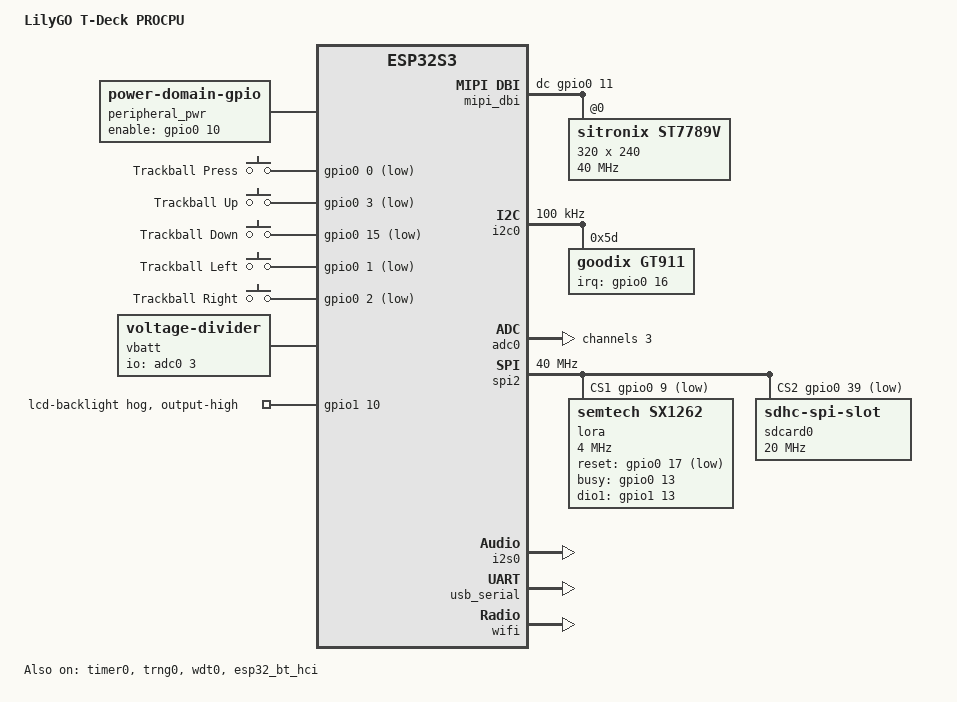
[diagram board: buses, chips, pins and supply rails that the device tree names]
/*
 * SPDX-FileCopyrightText: Copyright The Zephyr Project Contributors
 * SPDX-License-Identifier: Apache-2.0
 */

/dts-v1/;

#include <espressif/esp32s3/esp32s3_wroom_n16r8.dtsi>
#include "t_deck-pinctrl.dtsi"
#include <espressif/partitions_0x0_amp_16M.dtsi>
#include <zephyr/dt-bindings/adc/adc.h>
#include <zephyr/dt-bindings/display/panel.h>
#include <zephyr/dt-bindings/input/input-event-codes.h>
#include <zephyr/dt-bindings/input/keymap.h>
#include <zephyr/dt-bindings/lora/sx126x.h>
#include <zephyr/dt-bindings/lvgl/lvgl.h>
#include <zephyr/dt-bindings/mipi_dbi/mipi_dbi.h>

/ {
	model = "LilyGO T-Deck PROCPU";
	compatible = "espressif,esp32s3";

	aliases {
		i2c-0 = &i2c0;
		i2s-tx = &i2s0;
		lora0 = &lora;
		sdhc0 = &sdcard0;
		sw0 = &trackball_press;
		uart-0 = &uart0;
		watchdog0 = &wdt0;
	};

	chosen {
		zephyr,sram = &sram0;
		zephyr,console = &usb_serial;
		zephyr,shell-uart = &usb_serial;
		zephyr,flash = &flash0;
		zephyr,code-partition = &slot0_partition;
		zephyr,bt-hci = &esp32_bt_hci;
		zephyr,display = &st7789v;
		zephyr,touch = &gt911;
	};

	peripheral_pwr: peripheral_pwr {
		compatible = "power-domain-gpio";
		enable-gpios = <&gpio0 10 GPIO_ACTIVE_HIGH>;
		#power-domain-cells = <0>;
	};

	trackball: trackball {
		compatible = "gpio-keys";
		power-domains = <&peripheral_pwr>;
		status = "okay";

		trackball_press: trackball_press {
			gpios = <&gpio0 0 (GPIO_PULL_UP | GPIO_ACTIVE_LOW)>;
			label = "Trackball Press";
			zephyr,code = <INPUT_KEY_ENTER>;
		};

		trackball_up: trackball_up {
			gpios = <&gpio0 3 (GPIO_PULL_UP | GPIO_ACTIVE_LOW)>;
			label = "Trackball Up";
			zephyr,code = <INPUT_KEY_UP>;
		};

		trackball_down: trackball_down {
			gpios = <&gpio0 15 (GPIO_PULL_UP | GPIO_ACTIVE_LOW)>;
			label = "Trackball Down";
			zephyr,code = <INPUT_KEY_DOWN>;
		};

		trackball_left: trackball_left {
			gpios = <&gpio0 1 (GPIO_PULL_UP | GPIO_ACTIVE_LOW)>;
			label = "Trackball Left";
			zephyr,code = <INPUT_KEY_LEFT>;
		};

		trackball_right: trackball_right {
			gpios = <&gpio0 2 (GPIO_PULL_UP | GPIO_ACTIVE_LOW)>;
			label = "Trackball Right";
			zephyr,code = <INPUT_KEY_RIGHT>;
		};
	};

	lvgl_trackball_keypad: lvgl-trackball-keypad {
		compatible = "zephyr,lvgl-keypad-input";
		input = <&trackball>;
		input-codes = <INPUT_KEY_UP INPUT_KEY_DOWN INPUT_KEY_LEFT
			       INPUT_KEY_RIGHT INPUT_KEY_ENTER>;
		lvgl-codes = <LV_KEY_UP LV_KEY_DOWN LV_KEY_LEFT
			      LV_KEY_RIGHT LV_KEY_ENTER>;
	};

	mipi_dbi {
		compatible = "zephyr,mipi-dbi-spi";
		dc-gpios = <&gpio0 11 GPIO_ACTIVE_HIGH>;
		spi-dev = <&spi2>;
		write-only;
		#address-cells = <1>;
		#size-cells = <0>;

		st7789v: st7789v@0 {
			compatible = "sitronix,st7789v";
			reg = <0>;
			mipi-max-frequency = <DT_FREQ_M(40)>;
			mipi-mode = "MIPI_DBI_MODE_SPI_4WIRE";
			width = <320>;
			height = <240>;
			x-offset = <0>;
			y-offset = <0>;
			vcom = <0x1a>;
			gctrl = <0x75>;
			vrhs = <0x13>;
			vdvs = <0x20>;
			mdac = <0x60>;
			lcm = <0x2c>;
			pixel-format = <PANEL_PIXEL_FORMAT_RGB_565X>;
			gamma = <0x01>;
			porch-param = [0c 0c 00 33 33];
			cmd2en-param = [5a 69 02 01];
			pwctrl1-param = [a4 a1];
			pvgam-param = [d0 0d 14 0d 0d 09 38
				       44 4e 3a 17 18 2f 30];
			nvgam-param = [d0 09 0f 08 07 14 37
				       44 4d 38 15 16 2c 3e];
			ram-param = [00 f0];
			rgb-param = [40 02 14];
		};
	};

	vbatt: vbatt {
		compatible = "voltage-divider";
		io-channels = <&adc0 3>;
		output-ohms = <100000>;
		full-ohms = <200000>;
		skip-calibration;
	};
};

&dma {
	status = "okay";
};

&gpio0 {
	status = "okay";
};

&gpio1 {
	status = "okay";

	lcd_backlight {
		gpio-hog;
		gpios = <10 GPIO_ACTIVE_HIGH>;
		output-high;
		line-name = "lcd-backlight";
	};
};

&i2c0 {
	power-domains = <&peripheral_pwr>;
	status = "okay";
	clock-frequency = <I2C_BITRATE_STANDARD>;
	pinctrl-0 = <&i2c0_default>;
	pinctrl-names = "default";

	gt911: touchscreen@5d {
		compatible = "goodix,gt911";
		reg = <0x5d>;
		alt-addr = <0x14>;
		irq-gpios = <&gpio0 16 GPIO_ACTIVE_HIGH>;
		swapped-x-y;
		inverted-x;
		screen-width = <240>;
		screen-height = <320>;
		status = "okay";
	};
};

&adc0 {
	status = "okay";
	#address-cells = <1>;
	#size-cells = <0>;

	channel@3 {
		reg = <3>;
		zephyr,gain = "ADC_GAIN_1_4";
		zephyr,reference = "ADC_REF_INTERNAL";
		zephyr,acquisition-time = <ADC_ACQ_TIME_DEFAULT>;
		zephyr,resolution = <12>;
	};
};

&spi2 {
	power-domains = <&peripheral_pwr>;
	#address-cells = <1>;
	#size-cells = <0>;
	status = "okay";
	pinctrl-0 = <&spim2_default>;
	pinctrl-names = "default";
	clock-frequency = <DT_FREQ_M(40)>;
	cs-gpios = <&gpio0 12 GPIO_ACTIVE_LOW>, <&gpio0 9 GPIO_ACTIVE_LOW>,
		   <&gpio0 39 GPIO_ACTIVE_LOW>;

	lora: lora@1 {
		compatible = "semtech,sx1262";
		reg = <1>;
		reset-gpios = <&gpio0 17 (GPIO_OPEN_DRAIN | GPIO_ACTIVE_LOW)>;
		busy-gpios = <&gpio0 13 GPIO_ACTIVE_HIGH>;
		dio1-gpios = <&gpio1 13 GPIO_ACTIVE_HIGH>;
		dio2-tx-enable;
		dio3-tcxo-voltage = <SX126X_DIO3_TCXO_1V8>;
		tcxo-power-startup-delay-ms = <5>;
		spi-max-frequency = <DT_FREQ_M(4)>;
		status = "okay";
	};

	sdcard0: sdhc@2 {
		compatible = "zephyr,sdhc-spi-slot";
		reg = <2>;
		status = "okay";
		spi-max-frequency = <DT_FREQ_M(20)>;

		mmc {
			compatible = "zephyr,sdmmc-disk";
			disk-name = "SD";
			status = "okay";
		};
	};
};

&i2s0 {
	power-domains = <&peripheral_pwr>;
	pinctrl-0 = <&i2s0_default>;
	pinctrl-names = "default";
	status = "okay";
};

&usb_serial {
	status = "okay";
};

&timer0 {
	status = "okay";
};

&trng0 {
	status = "okay";
};

&wdt0 {
	status = "okay";
};

&esp32_bt_hci {
	status = "okay";
};

&wifi {
	status = "okay";
};
